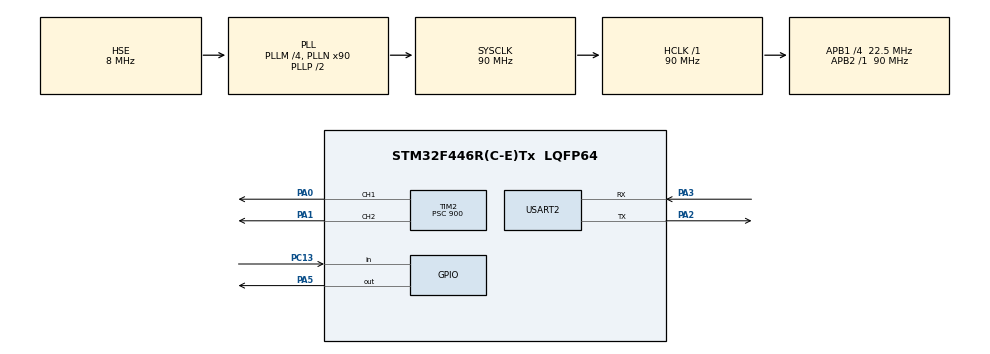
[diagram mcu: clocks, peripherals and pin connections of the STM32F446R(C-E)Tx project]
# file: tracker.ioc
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Mcu.Family=STM32F4
Mcu.Name=STM32F446R(C-E)Tx
Mcu.Package=LQFP64
NVIC.PriorityGroup=NVIC_PRIORITYGROUP_0
NVIC.TIM2_IRQn=true\:0\:0\:false\:false\:true\:true\:true\:true
NVIC.USART2_IRQn=true\:0\:0\:false\:false\:true\:true\:true\:true
PA0-WKUP.Signal=S_TIM2_CH1_ETR
PA1.Signal=S_TIM2_CH2
PA2.Mode=Asynchronous
PA2.Signal=USART2_TX
PA3.Mode=Asynchronous
PA3.Signal=USART2_RX
PA5.Signal=GPIO_Output
PC13.Signal=GPIO_Input
PH0-OSC_IN.Mode=HSE-External-Oscillator
PH0-OSC_IN.Signal=RCC_OSC_IN
PH1-OSC_OUT.Mode=HSE-External-Oscillator
PH1-OSC_OUT.Signal=RCC_OSC_OUT
ProjectManager.HeapSize=0x200
ProjectManager.StackSize=0x400
ProjectManager.TargetToolchain=STM32CubeIDE
RCC.48MHZClocksFreq_Value=84000000
RCC.AHBFreq_Value=90000000
RCC.APB1CLKDivider=RCC_HCLK_DIV4
RCC.APB1Freq_Value=22500000
RCC.APB1TimFreq_Value=45000000
RCC.APB2Freq_Value=90000000
RCC.APB2TimFreq_Value=90000000
RCC.CortexFreq_Value=90000000
RCC.FLatency-AdvancedSettings=FLASH_LATENCY_2
RCC.HCLKFreq_Value=90000000
RCC.HSE_VALUE=8000000
RCC.HSI_VALUE=16000000
RCC.PLLM=4
RCC.PLLN=90
RCC.PLLSourceVirtual=RCC_PLLSOURCE_HSE
RCC.SYSCLKFreq_VALUE=90000000
RCC.SYSCLKSource=RCC_SYSCLKSOURCE_PLLCLK
RCC.USBFreq_Value=90000000
RCC.VCOOutputFreq_Value=180000000
SH.S_TIM2_CH1_ETR.0=TIM2_CH1,PWM Generation1 CH1
SH.S_TIM2_CH2.0=TIM2_CH2,PWM Generation2 CH2
TIM2.Channel-PWM\ Generation1\ CH1=TIM_CHANNEL_1
TIM2.Channel-PWM\ Generation2\ CH2=TIM_CHANNEL_2
TIM2.Period=1000
TIM2.Prescaler=900
USART2.VirtualMode=VM_ASYNC
board=NUCLEO-F446RE

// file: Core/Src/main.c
/* USER CODE BEGIN Header */
/**
  ******************************************************************************
  * @file           : main.c
  * @brief          : Main program body
  ******************************************************************************
  * @attention
  *
  * Copyright (c) 2023 STMicroelectronics.
  * All rights reserved.
  *
  * This software is licensed under terms that can be found in the LICENSE file
  * in the root directory of this software component.
  * If no LICENSE file comes with this software, it is provided AS-IS.
  *
  ******************************************************************************
  */
/* USER CODE END Header */
#include "main.h"

/* USER CODE BEGIN Includes */
#include "string.h"
/* USER CODE END Includes */

TIM_HandleTypeDef htim2;

UART_HandleTypeDef huart2;

void SystemClock_Config(void);
static void MX_GPIO_Init(void);
static void MX_USART2_UART_Init(void);
static void MX_TIM2_Init(void);

/* USER CODE BEGIN 0 */

uint8_t rx_data[6];

TIM_HandleTypeDef htim2;
UART_HandleTypeDef huart2;
int received_int;
char servo1[4];

char servo2[4];
int pulseWidthUs = 0;
int pulseser = 0;
int prev_pulseser = 30;

int prev_pulseWidthUs = 75;

int error = 15;
void setServoAngle(TIM_HandleTypeDef *htim){
    if(pulseWidthUs>error){
    	if(pulseWidthUs>50){
    		prev_pulseWidthUs = prev_pulseWidthUs-2;
    	}
    	else{
    		prev_pulseWidthUs = prev_pulseWidthUs-1;
    	}
    }
    else if (pulseWidthUs<-error){
    	if(pulseWidthUs<-50){
    	    		prev_pulseWidthUs = prev_pulseWidthUs+2;
    	    	}
    	    	else{
    	    		prev_pulseWidthUs = prev_pulseWidthUs+1;
    	    	}    }
    if(prev_pulseWidthUs<25) prev_pulseWidthUs = 25;
    if(prev_pulseWidthUs > 125) prev_pulseWidthUs = 125;

    if(pulseser>error){
    	if(pulseser>35){
    		prev_pulseser = prev_pulseser-2;
    	}
    	else{
    		prev_pulseser = prev_pulseser-1;
    	}
    }
    else if (pulseser<-error){
    	if(pulseser<-35){
    		prev_pulseser = prev_pulseser+2;
    	    	}
    	    	else{
    	    		prev_pulseser = prev_pulseser+1;
    	    	}    }
    if(prev_pulseser<25) prev_pulseser = 25;
    if(prev_pulseser > 75) prev_pulseser = 75;

		htim->Instance->CCR2 = prev_pulseser;

    	htim->Instance->CCR1 = prev_pulseWidthUs;
    	HAL_Delay(50);
}

/* USER CODE END 0 */

int main(void)
{

  /* MCU Configuration--------------------------------------------------------*/

  /* Reset of all peripherals, Initializes the Flash interface and the Systick. */
  HAL_Init();

  /* Configure the system clock */
  SystemClock_Config();

  /* Initialize all configured peripherals */
  MX_GPIO_Init();
  MX_USART2_UART_Init();
  MX_TIM2_Init();
  HAL_TIM_PWM_Start(&htim2, TIM_CHANNEL_1);
  HAL_TIM_PWM_Start(&htim2, TIM_CHANNEL_2);
  /* USER CODE BEGIN 2 */
	HAL_UART_Receive_IT(&huart2, &rx_data, 6);

  /* USER CODE END 2 */
int A = 25;
  /* Infinite loop */
    while (1)
    {
    	setServoAngle(&htim2);

  }
}

void SystemClock_Config(void)
{
  RCC_OscInitTypeDef RCC_OscInitStruct = {0};
  RCC_ClkInitTypeDef RCC_ClkInitStruct = {0};

  /** Configure the main internal regulator output voltage
  */
  __HAL_RCC_PWR_CLK_ENABLE();
  __HAL_PWR_VOLTAGESCALING_CONFIG(PWR_REGULATOR_VOLTAGE_SCALE3);

  /** Initializes the RCC Oscillators according to the specified parameters
  * in the RCC_OscInitTypeDef structure.
  */
  RCC_OscInitStruct.OscillatorType = RCC_OSCILLATORTYPE_HSE;
  RCC_OscInitStruct.HSEState = RCC_HSE_ON;
  RCC_OscInitStruct.PLL.PLLState = RCC_PLL_ON;
  RCC_OscInitStruct.PLL.PLLSource = RCC_PLLSOURCE_HSE;
  RCC_OscInitStruct.PLL.PLLM = 4;
  RCC_OscInitStruct.PLL.PLLN = 90;
  RCC_OscInitStruct.PLL.PLLP = RCC_PLLP_DIV2;
  RCC_OscInitStruct.PLL.PLLQ = 2;
  RCC_OscInitStruct.PLL.PLLR = 2;
  if (HAL_RCC_OscConfig(&RCC_OscInitStruct) != HAL_OK)
  {
    Error_Handler();
  }

  /** Initializes the CPU, AHB and APB buses clocks
  */
  RCC_ClkInitStruct.ClockType = RCC_CLOCKTYPE_HCLK|RCC_CLOCKTYPE_SYSCLK
                              |RCC_CLOCKTYPE_PCLK1|RCC_CLOCKTYPE_PCLK2;
  RCC_ClkInitStruct.SYSCLKSource = RCC_SYSCLKSOURCE_PLLCLK;
  RCC_ClkInitStruct.AHBCLKDivider = RCC_SYSCLK_DIV1;
  RCC_ClkInitStruct.APB1CLKDivider = RCC_HCLK_DIV4;
  RCC_ClkInitStruct.APB2CLKDivider = RCC_HCLK_DIV1;

  if (HAL_RCC_ClockConfig(&RCC_ClkInitStruct, FLASH_LATENCY_2) != HAL_OK)
  {
    Error_Handler();
  }
}

static void MX_TIM2_Init(void)
{

  TIM_MasterConfigTypeDef sMasterConfig = {0};
  TIM_OC_InitTypeDef sConfigOC = {0};

  htim2.Instance = TIM2;
  htim2.Init.Prescaler = 900;
  htim2.Init.CounterMode = TIM_COUNTERMODE_UP;
  htim2.Init.Period = 1000;
  htim2.Init.ClockDivision = TIM_CLOCKDIVISION_DIV1;
  htim2.Init.AutoReloadPreload = TIM_AUTORELOAD_PRELOAD_DISABLE;
  if (HAL_TIM_PWM_Init(&htim2) != HAL_OK)
  {
    Error_Handler();
  }
  sMasterConfig.MasterOutputTrigger = TIM_TRGO_RESET;
  sMasterConfig.MasterSlaveMode = TIM_MASTERSLAVEMODE_DISABLE;
  if (HAL_TIMEx_MasterConfigSynchronization(&htim2, &sMasterConfig) != HAL_OK)
  {
    Error_Handler();
  }
  sConfigOC.OCMode = TIM_OCMODE_PWM1;
  sConfigOC.Pulse = 0;
  sConfigOC.OCPolarity = TIM_OCPOLARITY_HIGH;
  sConfigOC.OCFastMode = TIM_OCFAST_DISABLE;
  if (HAL_TIM_PWM_ConfigChannel(&htim2, &sConfigOC, TIM_CHANNEL_1) != HAL_OK)
  {
    Error_Handler();
  }
  if (HAL_TIM_PWM_ConfigChannel(&htim2, &sConfigOC, TIM_CHANNEL_2) != HAL_OK)
  {
    Error_Handler();
  }
  HAL_TIM_MspPostInit(&htim2);

}

static void MX_USART2_UART_Init(void)
{

  huart2.Instance = USART2;
  huart2.Init.BaudRate = 115200;
  huart2.Init.WordLength = UART_WORDLENGTH_8B;
  huart2.Init.StopBits = UART_STOPBITS_1;
  huart2.Init.Parity = UART_PARITY_NONE;
  huart2.Init.Mode = UART_MODE_TX_RX;
  huart2.Init.HwFlowCtl = UART_HWCONTROL_NONE;
  huart2.Init.OverSampling = UART_OVERSAMPLING_16;
  if (HAL_UART_Init(&huart2) != HAL_OK)
  {
    Error_Handler();
  }

}

static void MX_GPIO_Init(void)
{
  GPIO_InitTypeDef GPIO_InitStruct = {0};

  /* GPIO Ports Clock Enable */
  __HAL_RCC_GPIOC_CLK_ENABLE();
  __HAL_RCC_GPIOH_CLK_ENABLE();
  __HAL_RCC_GPIOA_CLK_ENABLE();

  /*Configure GPIO pin Output Level */
  HAL_GPIO_WritePin(GPIOA, GPIO_PIN_5, GPIO_PIN_RESET);

  /*Configure GPIO pin : PC13 */
  GPIO_InitStruct.Pin = GPIO_PIN_13;
  GPIO_InitStruct.Mode = GPIO_MODE_INPUT;
  GPIO_InitStruct.Pull = GPIO_NOPULL;
  HAL_GPIO_Init(GPIOC, &GPIO_InitStruct);

  /*Configure GPIO pin : PA5 */
  GPIO_InitStruct.Pin = GPIO_PIN_5;
  GPIO_InitStruct.Mode = GPIO_MODE_OUTPUT_PP;
  GPIO_InitStruct.Pull = GPIO_NOPULL;
  GPIO_InitStruct.Speed = GPIO_SPEED_FREQ_LOW;
  HAL_GPIO_Init(GPIOA, &GPIO_InitStruct);

}

/* USER CODE BEGIN 4 */

void HAL_UART_RxCpltCallback(UART_HandleTypeDef *huart)
{

  /* Prevent unused argument(s) compilation warning */
  UNUSED(huart);
  /* NOTE: This function should not be modified, when the callback is needed,
           the HAL_UART_RxCpltCallback could be implemented in the user file
   */
	HAL_UART_Transmit(&huart2, rx_data, 6, 10);
	HAL_UART_Receive_IT(&huart2, &rx_data, 6);

    memcpy(servo1, rx_data, 3);
    servo1[3] = '\0';
    memcpy(servo2, rx_data+3, 3);
    servo2[3] = '\0';
    received_int = 640-atoi(servo1);//640-
    pulseWidthUs = ((320-received_int)*0.3215);
    received_int = atoi(servo2);//640-
    pulseser = ((240-received_int)*0.3215);

}
/* USER CODE END 4 */

void Error_Handler(void)
{
  __disable_irq();
  while (1)
  {
  }
}
